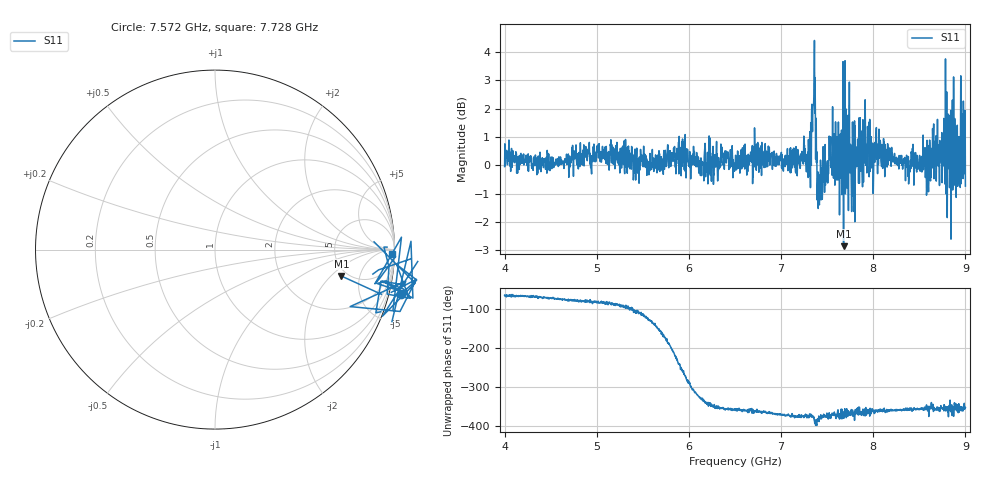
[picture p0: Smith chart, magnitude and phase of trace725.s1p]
! Created with skrf 1.8.0 (http://scikit-rf.org).
# Hz S RI R 50.0
!freq ReS11 ImS11
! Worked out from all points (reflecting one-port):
!   1601 points, 4 GHz to 9 GHz, reference 50 ohm
!   lowest |S11| = -2.9 dB at 7.678 GHz (marker M1), VSWR 6.13, Z = 221 - j135 ohm
!   phase of S11 starts at -63 deg and turns -290 deg over the sweep
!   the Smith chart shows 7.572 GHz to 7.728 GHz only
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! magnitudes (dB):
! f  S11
! 4 GHz  0.0
! 4.625 GHz  0.0
! 5.25 GHz  -0.3
! 5.875 GHz  0.3
! 6.5 GHz  -0.2
! 6.728 GHz  0.4
! 7.125 GHz  0.3
! 7.294 GHz  -0.4
! 7.356 GHz  2.4
! 7.397 GHz  -0.5
! 7.416 GHz  -1.4
! 7.534 GHz  0.7
! 7.619 GHz  -0.4
! 7.678 GHz  -2.9
! 7.75 GHz  -0.2
! 7.784 GHz  0.0
! 7.928 GHz  0.7
! 7.981 GHz  -0.1
! 8.053 GHz  0.6
! 8.375 GHz  -0.1
! 8.538 GHz  0.0
! 8.603 GHz  -0.6
! 8.631 GHz  0.5
! 8.738 GHz  0.2
! 8.8 GHz  0.6
! 8.919 GHz  -0.6
! 8.972 GHz  0.6
! 9 GHz  -0.7
